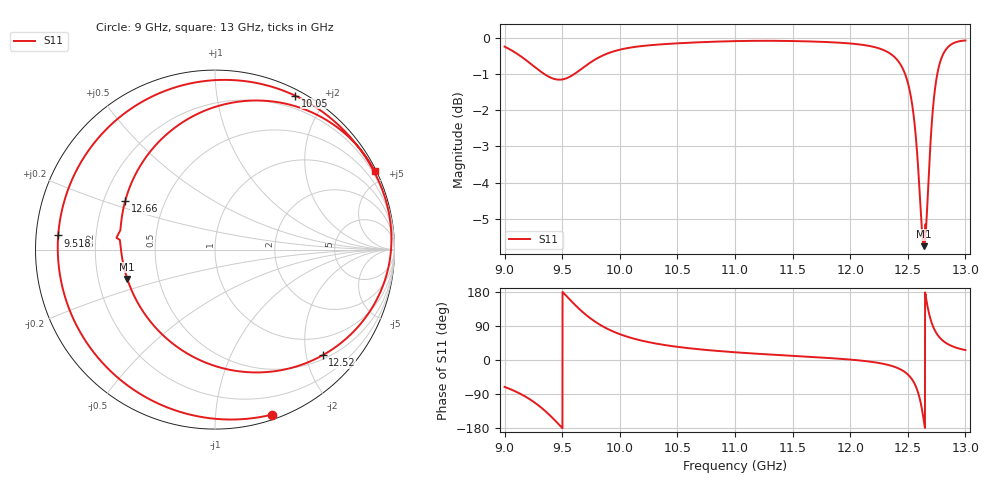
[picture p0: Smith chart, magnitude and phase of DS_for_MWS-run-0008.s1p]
! TOUCHSTONE file generated by CST DESIGN STUDIO
! Date and time: Tue Feb  4 12:42:33 2025
! Project name: C:\Work\MatlabApps\UnitCellOptimizationMatlab\CST\unitcell.cst
! Tree item: Tasks\Sweep1\SPara1\S-Parameters
! Header version: 2024
! Port assignment regex: !\s*Touchstone port\s*([0-9]+)\s*=\s*(CST MWS port|CST DES external port|CST DES block port)\s*(.+)\s* \(\"(.*)\"\)(\s*mode\s*([0-9]+))?.*
! Touchstone port assignment:
! Touchstone port 1 = CST DES external port 1 ("")
# GHz S MA R 50
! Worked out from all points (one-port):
!   4001 points, 9 GHz to 13 GHz, reference 50 ohm
!   lowest |S11| = -5.8 dB at 12.64 GHz (marker M1), VSWR 3.13, Z = 16.4 - j7.28 ohm
!   |S11| at or under -10 dB: nowhere
!   S11 on the Smith chart (normalised r, x): 9 GHz: 0.04, -1.40; 9.518 GHz: 0.07, +0.04; 10.05 GHz: 0.06, +1.64; 12.52 GHz: 0.58, -2.32; 12.66 GHz: 0.29, +0.23; 13 GHz: 0.08, +4.30
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9  0.9723 -71.0
9.159  0.9383 -92.8
9.278  0.9072 -116.1
9.382  0.8838 -142.8
9.5  0.876 -179.3
9.518  0.8772 174.9
9.633  0.8975 139.0
9.732  0.9216 112.9
9.845  0.9442 90.0
10  0.9629 68.2
10.053  0.967 62.6
10.5  0.9826 34.7
11  0.9896 20.4
11.5  0.9898 11.0
12  0.9821 1.1
12.351  0.9501 -14.8
12.5  0.8672 -38.1
12.52  0.8403 -44.5
12.556  0.7682 -60.8
12.591  0.6573 -87.6
12.615  0.5669 -117.3
12.64  0.5153 -161.5
12.665  0.5689 151.6
12.7  0.7287 105.0
12.738  0.8545 76.3
12.781  0.9262 57.7
12.833  0.9643 44.6
13  0.9916 26.2
